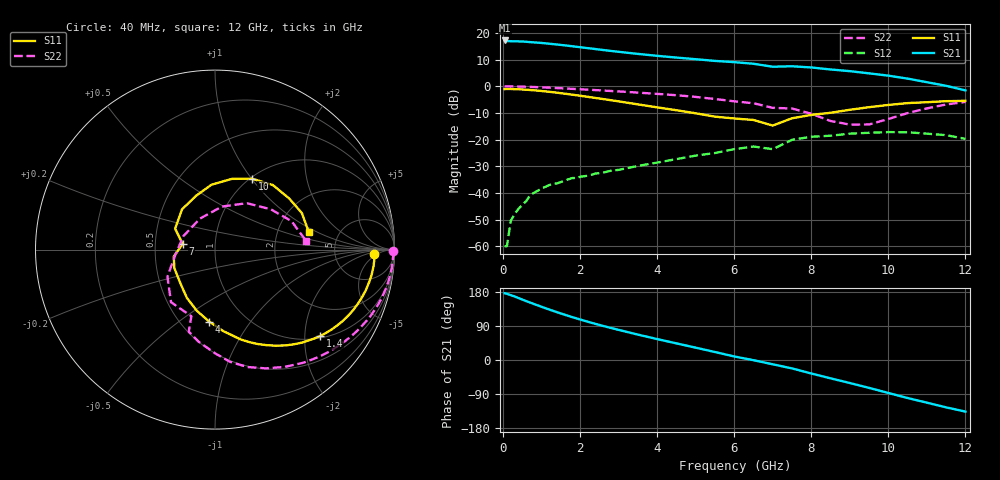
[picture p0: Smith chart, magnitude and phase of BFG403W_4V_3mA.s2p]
! Filename: 43bfg403.001
! BFG403W Field A1
! V1=8.700E-001V,V2=4.000E+000V, I1=3.935E-005A, I2=3.000E-003A
# GHz  S  MA  R 50
!  S11  S21  S12  S22
!Freq(GHz)  Mag  Ang  Mag  Ang  Mag  Ang  Mag  Ang
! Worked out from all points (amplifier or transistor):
!   44 points, 40 MHz to 12 GHz, reference 50 ohm
!   highest |S21| = 17.2 dB at 40 MHz (marker M1)
!   |S21| within 3 dB of that: start of sweep to 2.268 GHz
!   unconditionally stable (mu >= 1): 2.473 GHz to end of sweep
!   at 700 MHz: K = 0.28, MSG = 28.7 dB, |S12| = -40.9 dB
!   at 2.4 GHz: K = 0.96, MSG = 23.4 dB, |S12| = -32.8 dB
!   at 12 GHz: K = 3.17, MAG = 1.2 dB, |S12| = -19.7 dB
!   S11 on the Smith chart (normalised r, x): 40 MHz: 16, -3; 1.4 GHz: 1.05, -2.38; 4 GHz: 0.68, -0.65; 7 GHz: 0.69, +0.04; 10 GHz: 1.02, +1.01; 12 GHz: 3.03, +0.81
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0.04  0.886 -1.5  7.231 176.0  0.001 54.0  0.993 -0.6
0.1  0.89 -3.0  7.054 174.8  0.001 90.9  0.994 -1.8
0.2  0.888 -6.0  7.001 171.1  0.003 83.6  0.991 -4.0
0.5  0.87 -15.2  6.907 159.3  0.006 77.8  0.983 -10.1
0.8  0.84 -23.8  6.658 147.9  0.01 72.7  0.968 -15.9
1.1  0.801 -31.9  6.384 136.7  0.013 68.1  0.948 -21.5
1.4  0.758 -39.5  6.068 126.2  0.015 64.2  0.925 -26.8
1.8  0.694 -49.1  5.625 113.0  0.019 59.8  0.894 -33.5
2.2  0.633 -57.8  5.189 101.0  0.021 57.0  0.862 -39.9
3  0.521 -74.0  4.431 79.4  0.027 53.6  0.8 -52.0
3.5  0.457 -84.1  4.047 67.0  0.032 52.0  0.76 -59.3
4  0.402 -94.7  3.721 55.2  0.037 50.0  0.72 -66.8
4.5  0.355 -106.7  3.452 43.9  0.043 46.8  0.679 -74.5
5.5  0.269 -135.9  2.99 21.1  0.056 36.9  0.577 -90.1
6.5  0.233 -170.4  2.643 -0.5  0.074 28.0  0.48 -107.7
7  0.183 170.2  2.324 -11.3  0.066 26.9  0.394 -109.5
7.5  0.251 152.2  2.372 -22.2  0.099 16.5  0.382 -129.9
8.5  0.318 109.3  2.064 -48.4  0.118 -9.2  0.223 -172.5
9  0.362 93.1  1.92 -60.7  0.129 -19.9  0.191 156.5
10  0.446 62.3  1.58 -87.0  0.138 -46.8  0.243 80.9
10.5  0.483 48.1  1.391 -100.3  0.137 -61.6  0.314 55.4
12  0.532 10.4  0.837 -136.1  0.103 -108.0  0.509 5.6
